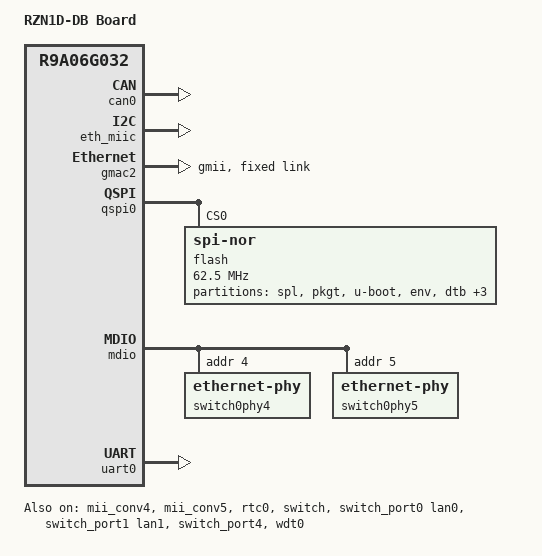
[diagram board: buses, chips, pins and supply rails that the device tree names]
// SPDX-License-Identifier: GPL-2.0
/*
 * Device Tree Source for the RZN1D-DB Board
 *
 * Copyright (C) 2018 Renesas Electronics Europe Limited
 *
 */

/dts-v1/;

#include <dt-bindings/pinctrl/rzn1-pinctrl.h>
#include <dt-bindings/net/pcs-rzn1-miic.h>

#include "r9a06g032.dtsi"

/ {
	model = "RZN1D-DB Board";
	compatible = "renesas,rzn1d400-db", "renesas,r9a06g032";

	chosen {
		stdout-path = "serial0:115200n8";
	};

	aliases {
		serial0 = &uart0;
	};
};

&can0 {
	pinctrl-0 = <&pins_can0>;
	pinctrl-names = "default";

	/* Assuming CN10/CN11 are wired for CAN1 */
	status = "okay";
};

&can1 {
	pinctrl-0 = <&pins_can1>;
	pinctrl-names = "default";

	/* Please only enable can0 or can1, depending on CN10/CN11 */
	/* status = "okay"; */
};

&eth_miic {
	status = "okay";
	renesas,miic-switch-portin = <MIIC_GMAC2_PORT>;
};

&gmac2 {
	status = "okay";
	phy-mode = "gmii";

	fixed-link {
		speed = <1000>;
		full-duplex;
	};
};

&mii_conv4 {
	renesas,miic-input = <MIIC_SWITCH_PORTB>;
	status = "okay";
};

&mii_conv5 {
	renesas,miic-input = <MIIC_SWITCH_PORTA>;
	status = "okay";
};

&pinctrl {
	pins_can0: pins_can0 {
		pinmux = <RZN1_PINMUX(162, RZN1_FUNC_CAN)>,	/* CAN0_TXD */
			 <RZN1_PINMUX(163, RZN1_FUNC_CAN)>;	/* CAN0_RXD */
		drive-strength = <6>;
	};

	pins_can1: pins_can1 {
		pinmux = <RZN1_PINMUX(109, RZN1_FUNC_CAN)>,	/* CAN1_TXD */
			 <RZN1_PINMUX(110, RZN1_FUNC_CAN)>;	/* CAN1_RXD */
		drive-strength = <6>;
	};

	pins_eth3: pins_eth3 {
		pinmux = <RZN1_PINMUX(36, RZN1_FUNC_CLK_ETH_MII_RGMII_RMII)>,
			 <RZN1_PINMUX(37, RZN1_FUNC_CLK_ETH_MII_RGMII_RMII)>,
			 <RZN1_PINMUX(38, RZN1_FUNC_CLK_ETH_MII_RGMII_RMII)>,
			 <RZN1_PINMUX(39, RZN1_FUNC_CLK_ETH_MII_RGMII_RMII)>,
			 <RZN1_PINMUX(40, RZN1_FUNC_CLK_ETH_MII_RGMII_RMII)>,
			 <RZN1_PINMUX(41, RZN1_FUNC_CLK_ETH_MII_RGMII_RMII)>,
			 <RZN1_PINMUX(42, RZN1_FUNC_CLK_ETH_MII_RGMII_RMII)>,
			 <RZN1_PINMUX(43, RZN1_FUNC_CLK_ETH_MII_RGMII_RMII)>,
			 <RZN1_PINMUX(44, RZN1_FUNC_CLK_ETH_MII_RGMII_RMII)>,
			 <RZN1_PINMUX(45, RZN1_FUNC_CLK_ETH_MII_RGMII_RMII)>,
			 <RZN1_PINMUX(46, RZN1_FUNC_CLK_ETH_MII_RGMII_RMII)>,
			 <RZN1_PINMUX(47, RZN1_FUNC_CLK_ETH_MII_RGMII_RMII)>;
		drive-strength = <6>;
		bias-disable;
	};

	pins_eth4: pins_eth4 {
		pinmux = <RZN1_PINMUX(48, RZN1_FUNC_CLK_ETH_MII_RGMII_RMII)>,
			 <RZN1_PINMUX(49, RZN1_FUNC_CLK_ETH_MII_RGMII_RMII)>,
			 <RZN1_PINMUX(50, RZN1_FUNC_CLK_ETH_MII_RGMII_RMII)>,
			 <RZN1_PINMUX(51, RZN1_FUNC_CLK_ETH_MII_RGMII_RMII)>,
			 <RZN1_PINMUX(52, RZN1_FUNC_CLK_ETH_MII_RGMII_RMII)>,
			 <RZN1_PINMUX(53, RZN1_FUNC_CLK_ETH_MII_RGMII_RMII)>,
			 <RZN1_PINMUX(54, RZN1_FUNC_CLK_ETH_MII_RGMII_RMII)>,
			 <RZN1_PINMUX(55, RZN1_FUNC_CLK_ETH_MII_RGMII_RMII)>,
			 <RZN1_PINMUX(56, RZN1_FUNC_CLK_ETH_MII_RGMII_RMII)>,
			 <RZN1_PINMUX(57, RZN1_FUNC_CLK_ETH_MII_RGMII_RMII)>,
			 <RZN1_PINMUX(58, RZN1_FUNC_CLK_ETH_MII_RGMII_RMII)>,
			 <RZN1_PINMUX(59, RZN1_FUNC_CLK_ETH_MII_RGMII_RMII)>;
		drive-strength = <6>;
		bias-disable;
	};

	pins_mdio1: pins_mdio1 {
		pinmux = <RZN1_PINMUX(152, RZN1_FUNC_MDIO1_SWITCH)>,
			 <RZN1_PINMUX(153, RZN1_FUNC_MDIO1_SWITCH)>;
	};

	pins_qspi0: pins-qspi0 {
		pinmux = <RZN1_PINMUX(74, RZN1_FUNC_QSPI)>,
			 <RZN1_PINMUX(75, RZN1_FUNC_QSPI)>,
			 <RZN1_PINMUX(76, RZN1_FUNC_QSPI)>,
			 <RZN1_PINMUX(77, RZN1_FUNC_QSPI)>,
			 <RZN1_PINMUX(78, RZN1_FUNC_QSPI)>,
			 <RZN1_PINMUX(79, RZN1_FUNC_QSPI)>;
		bias-disable;
	};
};

&qspi0 {
	pinctrl-0 = <&pins_qspi0>;
	pinctrl-names = "default";
	status = "okay";
	bootph-all;

	flash@0 {
		reg = <0>;
		compatible = "jedec,spi-nor";
		spi-max-frequency = <62500000>;
		spi-rx-bus-width = <4>;
		spi-tx-bus-width = <4>;
		cdns,read-delay = <1>;
		cdns,tshsl-ns = <200>;
		cdns,tsd2d-ns = <255>;
		cdns,tchsh-ns = <20>;
		cdns,tslch-ns = <20>;
		bootph-all;

		partitions {
			compatible = "fixed-partitions";
			#address-cells = <1>;
			#size-cells = <1>;

			partition@0 {
				/* 64KiB */
				label = "spl";
				reg = <0x0000000 0x00010000>;
			};
			partition@10000 {
				/* 64KiB */
				label = "pkgt";
				reg = <0x0010000 0x00010000>;
			};
			partition@20000 {
				/* 512KiB */
				label = "u-boot";
				reg = <0x0020000 0x00080000>;
			};
			partition@a0000 {
				/* 64KiB */
				label = "env";
				reg = <0x00a0000 0x00010000>;
			};
			partition@b0000 {
				/* 128KiB */
				label = "dtb";
				reg = <0x00b0000 0x00020000>;
			};
			partition@d0000 {
				/* 1MiB */
				label = "cm3";
				reg = <0x00d0000 0x00100000>;
			};
			partition@1d0000 {
				/* 6MiB */
				label = "kernel";
				reg = <0x01d0000 0x00600000>;
			};
			partition@7d0000 {
				/* Remaining */
				label = "data";
				reg = <0x07d0000 0x1830000>;
			};
		};
	};
};

&rtc0 {
	status = "okay";
};

&switch {
	status = "okay";

	pinctrl-names = "default";
	pinctrl-0 = <&pins_eth3>, <&pins_eth4>, <&pins_mdio1>;

	dsa,member = <0 0>;

	mdio {
		clock-frequency = <2500000>;

		#address-cells = <1>;
		#size-cells = <0>;

		switch0phy4: ethernet-phy@4 {
			reg = <4>;
			micrel,led-mode = <1>;
		};

		switch0phy5: ethernet-phy@5 {
			reg = <5>;
			micrel,led-mode = <1>;
		};
	};
};

&switch_port0 {
	label = "lan0";
	phy-mode = "mii";
	phy-handle = <&switch0phy5>;
	status = "okay";
};

&switch_port1 {
	label = "lan1";
	phy-mode = "mii";
	phy-handle = <&switch0phy4>;
	status = "okay";
};

&switch_port4 {
	status = "okay";
};

&uart0 {
	status = "okay";
};

&wdt0 {
	timeout-sec = <60>;
	status = "okay";
};
